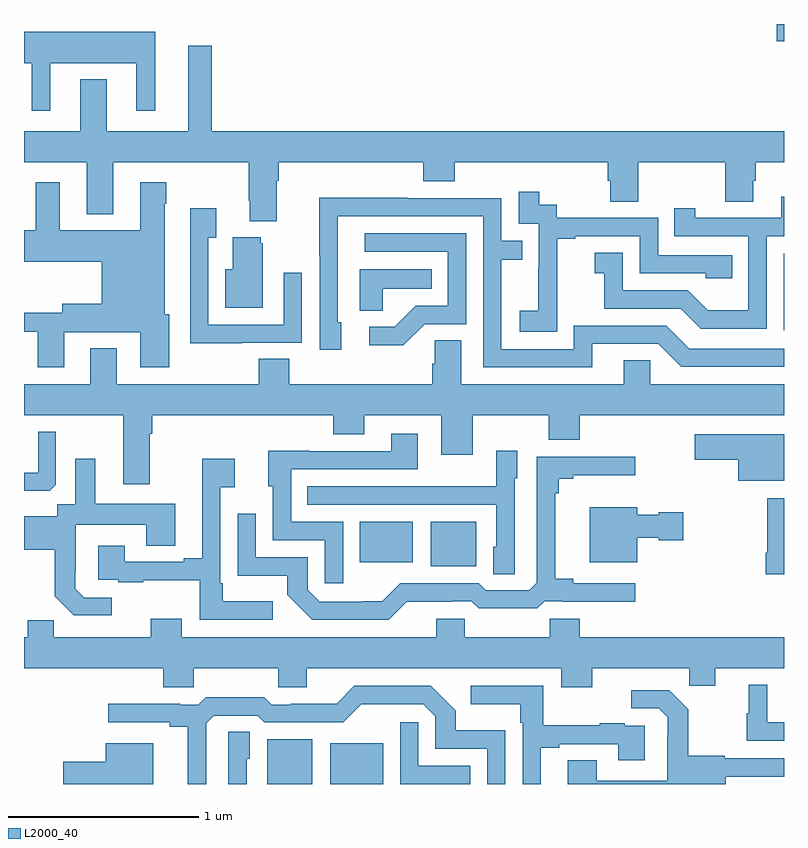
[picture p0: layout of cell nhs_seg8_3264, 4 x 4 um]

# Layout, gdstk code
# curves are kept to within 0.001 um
import gdstk
lib = gdstk.Library(unit=1e-6, precision=1e-09)
def R(c, l, rs):  # rectangles x0, y0, x1, y1
    for r in rs: c.add(gdstk.rectangle(r[:2], r[2:], *l))
def P(c, l, *ps):  # polygons
    for p in ps: c.add(gdstk.Polygon(p, *l))
L2000_40 = (2000, 40)

nhs_seg8_3264 = lib.new_cell('nhs_seg8_3264')
R(nhs_seg8_3264, L2000_40, [(314.279,1107.9,314.518,1108.135), (314.612,1107.9,314.89,1108.114), (315.14,1109.045,315.379,1109.281), (314.768,1109.066,315.046,1109.281), (316.998,1110.288,317,1110.693), (316.962,1111.81,317,1111.9)])
P(nhs_seg8_3264, L2000_40, [(313.138,1111.694),(313.592,1111.694),(313.592,1111.443),(313.69,1111.443),(313.69,1111.858),(313,1111.858),(313,1111.694),(313.04,1111.694),(313.04,1111.443),(313.138,1111.443)],
  [(313.987,1111.786),(313.865,1111.786),(313.865,1111.336),(313.435,1111.336),(313.435,1111.609),(313.295,1111.609),(313.295,1111.336),(313,1111.336),(313,1111.172),(313.331,1111.172),(313.331,1110.899),(313.471,1110.899),(313.471,1111.172),(314.182,1111.172),(314.182,1110.97),(314.189,1110.97),(314.189,1110.863),(314.329,1110.863),(314.329,1111.076),(314.342,1111.076),(314.342,1111.172),(315.101,1111.172),(315.101,1111.073),(315.266,1111.073),(315.266,1111.172),(316.073,1111.172),(316.073,1111.074),(316.085,1111.074),(316.085,1110.964),(316.233,1110.964),(316.233,1111.172),(316.69,1111.172),(316.69,1110.964),(316.837,1110.964),(316.837,1111.074),(316.85,1111.074),(316.85,1111.172),(317,1111.172),(317,1111.336),(313.987,1111.336)],
  [(313.213,1110.278),(313.613,1110.278),(313.613,1110.093),(313.765,1110.093),(313.765,1110.372),(313.741,1110.372),(313.741,1110.953),(313.749,1110.953),(313.749,1111.066),(313.613,1111.066),(313.613,1110.814),(313.189,1110.814),(313.189,1111.066),(313.061,1111.066),(313.061,1110.814),(313,1110.814),(313,1110.65),(313.409,1110.65),(313.409,1110.427),(313.202,1110.427),(313.202,1110.38),(313,1110.38),(313,1110.279),(313.073,1110.279),(313.073,1110.093),(313.213,1110.093)],
  [(315.807,1110.487),(315.806,1110.487),(315.806,1110.771),(315.901,1110.771),(315.901,1110.783),(316.242,1110.783),(316.242,1110.588),(316.587,1110.588),(316.587,1110.561),(316.727,1110.561),(316.727,1110.684),(316.338,1110.684),(316.338,1110.879),(315.804,1110.879),(315.804,1110.948),(315.712,1110.948),(315.712,1111.018),(315.603,1111.018),(315.603,1110.849),(315.708,1110.849),(315.708,1110.62),(315.707,1110.62),(315.707,1110.391),(315.609,1110.391),(315.609,1110.281),(315.807,1110.281)],
  [(316.908,1110.783),(317,1110.783),(317,1110.991),(316.985,1110.991),(316.985,1110.879),(316.534,1110.879),(316.534,1110.931),(316.423,1110.931),(316.423,1110.783),(316.812,1110.783),(316.812,1110.394),(316.598,1110.394),(316.494,1110.498),(316.152,1110.498),(316.152,1110.697),(316.005,1110.697),(316.005,1110.587),(316.054,1110.587),(316.054,1110.402),(316.457,1110.402),(316.562,1110.297),(316.908,1110.297)],
  [(315.991,1110.216),(316.338,1110.216),(316.458,1110.096),(317,1110.096),(317,1110.192),(316.5,1110.192),(316.38,1110.312),(315.894,1110.312),(315.894,1110.189),(315.513,1110.189),(315.513,1110.658),(315.623,1110.658),(315.623,1110.759),(315.513,1110.759),(315.513,1110.984),(315.017,1110.984),(315.017,1110.986),(314.554,1110.986),(314.554,1110.679),(314.556,1110.679),(314.556,1110.186),(314.671,1110.186),(314.671,1110.33),(314.652,1110.33),(314.652,1110.888),(315.417,1110.888),(315.417,1110.093),(315.991,1110.093)],
  [(314.147,1110.222),(314.463,1110.222),(314.463,1110.592),(314.367,1110.592),(314.367,1110.318),(313.971,1110.318),(313.971,1110.775),(314.011,1110.775),(314.011,1110.931),(313.874,1110.931),(313.874,1110.472),(313.875,1110.472),(313.875,1110.221),(314.147,1110.221)],
  [(315.108,1110.321),(315.327,1110.321),(315.327,1110.798),(314.793,1110.798),(314.793,1110.702),(315.231,1110.702),(315.231,1110.417),(315.062,1110.417),(314.951,1110.306),(314.817,1110.306),(314.817,1110.209),(314.995,1110.209)],
  [(314.257,1110.747),(314.246,1110.747),(314.246,1110.778),(314.099,1110.778),(314.099,1110.61),(314.06,1110.61),(314.06,1110.407),(314.257,1110.407)],
  [(314.889,1110.506),(315.146,1110.506),(315.146,1110.61),(314.768,1110.61),(314.768,1110.391),(314.889,1110.391)],
  [(313.663,1109.744),(313.676,1109.744),(313.676,1109.84),(314.627,1109.84),(314.627,1109.741),(314.791,1109.741),(314.791,1109.84),(315.197,1109.84),(315.197,1109.634),(315.361,1109.634),(315.361,1109.84),(315.761,1109.84),(315.761,1109.712),(315.925,1109.712),(315.925,1109.84),(317,1109.84),(317,1110.004),(316.296,1110.004),(316.296,1110.131),(316.157,1110.131),(316.157,1110.004),(315.301,1110.004),(315.301,1110.236),(315.162,1110.236),(315.162,1110.113),(315.149,1110.113),(315.149,1110.004),(314.396,1110.004),(314.396,1110.137),(314.236,1110.137),(314.236,1110.004),(313.489,1110.004),(313.489,1110.193),(313.349,1110.193),(313.349,1110.004),(313,1110.004),(313,1109.84),(313.523,1109.84),(313.523,1109.478),(313.663,1109.478)],
  [(313.167,1109.475),(313.167,1109.755),(313.074,1109.755),(313.074,1109.538),(313,1109.538),(313,1109.444),(313.135,1109.444)],
  [(314.679,1109.28),(314.406,1109.28),(314.406,1109.556),(315.073,1109.556),(315.073,1109.743),(314.933,1109.743),(314.933,1109.652),(314.503,1109.652),(314.503,1109.654),(314.285,1109.654),(314.285,1109.466),(314.31,1109.466),(314.31,1109.184),(314.583,1109.184),(314.583,1108.956),(314.679,1108.956)],
  [(317,1109.74),(316.53,1109.74),(316.53,1109.606),(316.76,1109.606),(316.76,1109.495),(317,1109.495)],
  [(315.582,1109.508),(315.595,1109.508),(315.595,1109.653),(315.486,1109.653),(315.486,1109.467),(315.169,1109.467),(315.169,1109.466),(314.491,1109.466),(314.491,1109.37),(315.486,1109.37),(315.486,1109.148),(315.47,1109.148),(315.47,1109.005),(315.582,1109.005)],
  [(315.014,1108.859),(315.254,1108.859),(315.254,1108.863),(315.354,1108.863),(315.394,1108.824),(315.701,1108.824),(315.741,1108.863),(315.835,1108.863),(315.835,1108.859),(316.216,1108.859),(316.216,1108.956),(315.892,1108.956),(315.892,1108.979),(315.797,1108.979),(315.797,1109.429),(315.815,1109.429),(315.815,1109.506),(315.892,1109.506),(315.892,1109.525),(316.216,1109.525),(316.216,1109.622),(315.699,1109.622),(315.699,1108.959),(315.66,1108.92),(315.429,1108.92),(315.393,1108.956),(314.979,1108.956),(314.885,1108.862),(314.78,1108.862),(314.78,1108.86),(314.556,1108.86),(314.493,1108.923),(314.493,1109.094),(314.22,1109.094),(314.22,1109.323),(314.124,1109.323),(314.124,1108.997),(314.386,1108.997),(314.386,1108.895),(314.516,1108.764),(314.919,1108.764)],
  [(314.308,1108.861),(314.047,1108.861),(314.047,1108.957),(314.034,1108.957),(314.034,1109.462),(314.11,1109.462),(314.11,1109.611),(313.937,1109.611),(313.937,1109.089),(313.841,1109.089),(313.841,1109.07),(313.531,1109.07),(313.531,1109.155),(313.391,1109.155),(313.391,1108.974),(313.495,1108.974),(313.495,1108.962),(313.627,1108.962),(313.627,1108.973),(313.926,1108.973),(313.926,1108.764),(314.308,1108.764)],
  [(313.462,1108.881),(313.317,1108.881),(313.27,1108.928),(313.27,1109.023),(313.272,1109.023),(313.272,1109.264),(313.643,1109.264),(313.643,1109.155),(313.795,1109.155),(313.795,1109.374),(313.375,1109.374),(313.375,1109.611),(313.271,1109.611),(313.271,1109.372),(313.176,1109.372),(313.176,1109.308),(313,1109.308),(313,1109.133),(313.161,1109.133),(313.161,1108.887),(313.261,1108.787),(313.462,1108.787)],
  [(317,1109.404),(316.911,1109.404),(316.911,1109.116),(316.903,1109.116),(316.903,1109.004),(317,1109.004)],
  [(316.228,1109.195),(316.341,1109.195),(316.341,1109.183),(316.471,1109.183),(316.471,1109.33),(316.341,1109.33),(316.341,1109.317),(316.228,1109.317),(316.228,1109.356),(315.977,1109.356),(315.977,1109.066),(316.228,1109.066)],
  [(315.991,1108.508),(316.501,1108.508),(316.501,1108.418),(316.639,1108.418),(316.639,1108.508),(317,1108.508),(317,1108.672),(315.926,1108.672),(315.926,1108.77),(315.766,1108.77),(315.766,1108.672),(315.321,1108.672),(315.321,1108.77),(315.17,1108.77),(315.17,1108.672),(313.831,1108.672),(313.831,1108.771),(313.667,1108.771),(313.667,1108.672),(313.157,1108.672),(313.157,1108.763),(313.019,1108.763),(313.019,1108.672),(313,1108.672),(313,1108.508),(313.733,1108.508),(313.733,1108.41),(313.893,1108.41),(313.893,1108.508),(314.338,1108.508),(314.338,1108.41),(314.488,1108.41),(314.488,1108.508),(315.827,1108.508),(315.827,1108.409),(315.991,1108.409)],
  [(317,1108.224),(316.912,1108.224),(316.912,1108.423),(316.814,1108.423),(316.814,1108.272),(316.803,1108.272),(316.803,1108.128),(317,1108.128)],
  [(313.959,1108.221),(313.998,1108.26),(314.229,1108.26),(314.265,1108.224),(314.679,1108.224),(314.774,1108.319),(315.102,1108.32),(315.165,1108.257),(315.165,1108.086),(315.438,1108.086),(315.438,1107.9),(315.534,1107.9),(315.534,1108.183),(315.273,1108.183),(315.273,1108.286),(315.142,1108.416),(314.739,1108.416),(314.645,1108.322),(314.404,1108.322),(314.404,1108.317),(314.304,1108.317),(314.265,1108.357),(313.957,1108.357),(313.917,1108.317),(313.823,1108.317),(313.823,1108.322),(313.443,1108.322),(313.443,1108.224),(313.766,1108.224),(313.766,1108.202),(313.862,1108.202),(313.862,1107.9),(313.959,1107.9)],
  [(315.721,1108.092),(315.817,1108.092),(315.817,1108.11),(316.127,1108.11),(316.127,1108.026),(316.267,1108.026),(316.267,1108.206),(316.163,1108.206),(316.163,1108.219),(316.031,1108.219),(316.031,1108.208),(315.733,1108.208),(315.733,1108.416),(315.351,1108.416),(315.351,1108.319),(315.612,1108.319),(315.612,1108.223),(315.624,1108.223),(315.624,1107.9),(315.721,1107.9)],
  [(316.693,1107.939),(317,1107.939),(317,1108.035),(316.689,1108.035),(316.689,1108.048),(316.497,1108.048),(316.497,1108.293),(316.397,1108.393),(316.197,1108.393),(316.197,1108.299),(316.341,1108.299),(316.388,1108.252),(316.388,1108.157),(316.386,1108.157),(316.386,1107.916),(316.015,1107.916),(316.015,1108.025),(315.863,1108.025),(315.863,1107.9),(316.693,1107.9)],
  [(315.348,1107.996),(315.075,1107.996),(315.075,1108.225),(314.979,1108.225),(314.979,1107.9),(315.348,1107.9)],
  [(314.172,1108.032),(314.188,1108.032),(314.188,1108.175),(314.076,1108.175),(314.076,1107.9),(314.172,1107.9)],
  [(313.681,1108.114),(313.43,1108.114),(313.43,1108.016),(313.206,1108.016),(313.206,1107.9),(313.681,1107.9)])

lib.write_gds('nhs_seg8_3264.gds')
